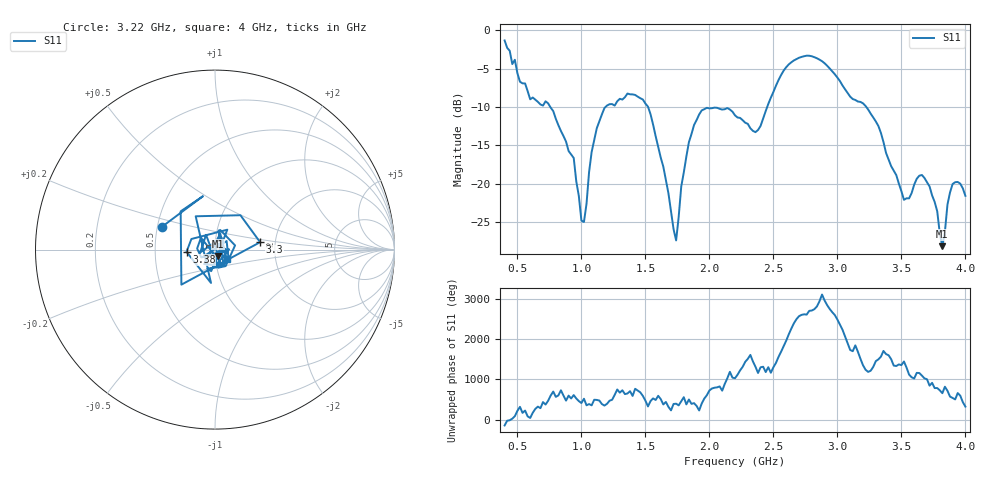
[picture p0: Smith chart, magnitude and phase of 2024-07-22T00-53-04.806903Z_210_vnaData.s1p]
!Created with skrf (http://scikit-rf.org).
# Hz S RI R 50.0
!freq ReS11 ImS11
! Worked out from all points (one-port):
!   181 points, 400 MHz to 4 GHz, reference 50 ohm
!   lowest |S11| = -28.1 dB at 3.82 GHz (marker M1), VSWR 1.08, Z = 51.5 - j3.7 ohm
!   |S11| at or under -10 dB: 757.1 MHz to 1.188 GHz (431.1 MHz wide, 44.3 % of centre); 1.521 GHz to 2.451 GHz (930.3 MHz wide, 46.8 % of centre); 3.226 GHz to end of sweep
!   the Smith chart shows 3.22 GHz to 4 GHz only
!   S11 on the Smith chart (normalised r, x): 3.22 GHz: 0.53, +0.15; 3.3 GHz: 1.66, +0.15; 3.38 GHz: 0.73, -0.02; 4 GHz: 1.13, -0.12
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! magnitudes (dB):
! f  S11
! 400 MHz  -1.3
! 600 MHz  -9.0
! 740 MHz  -9.5
! 860 MHz  -13.8
! 940 MHz  -16.6
! 1 GHz  -24.8
! 1.02 GHz  -25.0
! 1.12 GHz  -12.8
! 1.3 GHz  -8.9
! 1.52 GHz  -9.9
! 1.74 GHz  -27.4
! 1.76 GHz  -24.3
! 1.84 GHz  -14.6
! 1.92 GHz  -11.0
! 2.2 GHz  -11.1
! 2.38 GHz  -13.0
! 2.66 GHz  -3.9
! 2.88 GHz  -4.0
! 3.1 GHz  -8.7
! 3.22 GHz  -9.9
! 3.3 GHz  -11.9
! 3.38 GHz  -16.0
! 3.56 GHz  -21.9
! 3.68 GHz  -19.2
! 3.78 GHz  -23.6
! 3.82 GHz  -28.1
! 3.9 GHz  -20.0
! 4 GHz  -21.6
